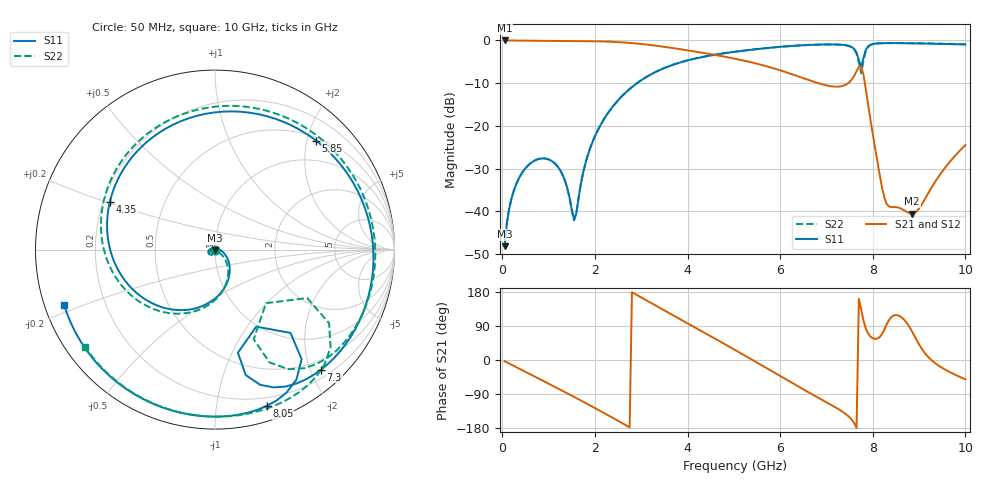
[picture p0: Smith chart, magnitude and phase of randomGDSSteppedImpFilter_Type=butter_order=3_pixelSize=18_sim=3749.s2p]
! freq	dB(S11)	phase(S11)	dB(S12)	phase(S12)
!  dB(S21)	phase(S21)	dB(S22)	phase(S22)
!S-par simulation data
#  GHz  S  DB  R 50
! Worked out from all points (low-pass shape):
!   200 points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, 50 MHz to 10 GHz, reference 50 ohm
!   highest |S21| = 0.00 dB at 50 MHz (marker M1); lowest = -40.5 dB at 8.85 GHz (marker M2)
!   |S21| within 3 dB of the highest: start of sweep to 4.387 GHz
!   lowest |S11| = -48.1 dB at 50 MHz (marker M3), VSWR 1.01, Z = 50 - j0.392 ohm
!   |S11| at or under -10 dB: start of sweep to 2.91 GHz
!   |S22| runs from -48.1 to -0.6 dB; largest |S21 - S12| = 0
!   S11 on the Smith chart (normalised r, x): 50 MHz: 1.00, -0.01; 4.35 GHz: 0.23, +0.21; 5.85 GHz: 0.56, +2.17; 7.3 GHz: 0.33, -2.18; 8.05 GHz: 0.12, -1.38; 10 GHz: 0.06, -0.18
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0.05  -48.14 -87.8  -0.00 -3.2  -0.00 -3.2  -48.13 -87.0
0.2  -36.94 -101.2  -0.02 -12.5  -0.02 -12.5  -36.93 -99.5
0.55  -29.32 -126.8  -0.05 -34.3  -0.05 -34.3  -29.31 -121.7
1.2  -29.56 -175.7  -0.10 -75.0  -0.10 -75.0  -29.57 -155.9
1.55  -41.98 90.7  -0.12 -97.4  -0.12 -97.4  -42.09 -106.3
1.75  -30.77 -4.7  -0.14 -110.3  -0.14 -110.3  -30.71 -37.4
2.1  -20.24 -40.0  -0.21 -133.4  -0.21 -133.4  -20.20 -48.6
2.6  -12.87 -78.2  -0.46 -167.3  -0.46 -167.3  -12.84 -78.3
3.4  -6.93 -136.6  -1.35 137.6  -1.35 137.6  -6.90 -129.7
3.85  -5.13 -168.9  -2.06 106.9  -2.06 106.9  -5.10 -158.5
4.35  -3.82 155.4  -2.94 73.0  -2.94 73.0  -3.80 169.6
5.05  -2.61 105.0  -4.34 24.8  -4.34 24.8  -2.60 123.7
5.85  -1.64 47.1  -6.49 -31.8  -6.49 -31.8  -1.64 68.0
6.7  -1.01 -10.7  -9.57 -91.0  -9.57 -91.0  -1.03 8.2
7.3  -0.99 -48.5  -10.76 -132.7  -10.76 -132.7  -1.01 -32.6
7.6  -2.00 -71.5  -8.26 -166.9  -8.26 -166.9  -2.13 -58.4
7.75  -6.25 -61.8  -6.06 133.4  -6.06 133.4  -7.70 -46.4
7.85  -2.18 -51.7  -11.45 82.5  -11.45 82.5  -2.43 -32.8
8.05  -0.74 -71.7  -25.18 55.7  -25.18 55.7  -0.76 -55.6
8.35  -0.63 -89.4  -38.84 105.3  -38.84 105.3  -0.61 -74.5
8.85  -0.68 -112.4  -40.52 74.9  -40.52 74.9  -0.64 -98.1
10  -0.96 -159.9  -24.46 -51.1  -24.46 -51.1  -0.88 -143.2
